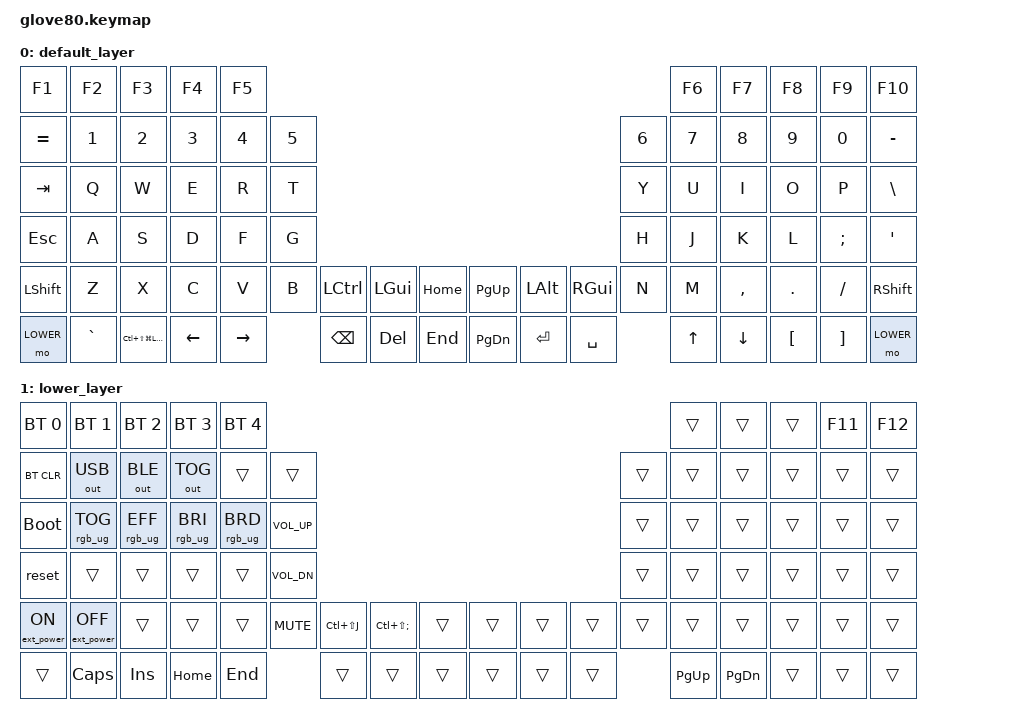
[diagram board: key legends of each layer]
/*
 * Copyright (c) 2020 The ZMK Contributors
 *
 * SPDX-License-Identifier: MIT
 */

#include <behaviors.dtsi>
#include <dt-bindings/zmk/keys.h>
#include <dt-bindings/zmk/bt.h>
#include <dt-bindings/zmk/ext_power.h>
#include <dt-bindings/zmk/outputs.h>
#include <dt-bindings/zmk/rgb.h>

#define HYPER LC(LS(LG(LALT)))
#define LOCK LG(LC(Q))
#define JAPA LC(LS(J))
#define ENGL LC(LS(SEMI))

// layers
#define DEFAULT 0
#define LOWER 1

/ {
    keymap {
      compatible = "zmk,keymap";

      default_layer {
        // ---------------------------------------------------------------------------------------------------------------------------------
        // |  F1   |  F2 |  F3 |  F4  |  F5  |                                                               |  F6   |  F7   |  F8  |   F9  |  F10 |
        // |  =    |  1  |  2  |  3   |  4   |  5   |                                                 |  6   |   7   |   8   |  9   |   0   |   -  |
        // |  TAB  |  Q  |  W  |  E   |  R   |  T   |                                                 |  Y   |   U   |   I   |  O   |   P   |   \  |
        // |  ESC  |  A  |  S  |  D   |  F   |  G   |                                                 |  H   |   J   |   K   |  L   |   ;   |   '  |
        // |   `   |  Z  |  X  |  C   |  V   |  B   | LSHFT | LCTRL | LOWER | | LGUI  | RCTRL | RSHFT |  N   |   M   |   ,   |  .   |   /   | PGUP |
        // | MAGIC | HOME| END | LEFT | RIGHT|      | BSPC  | DEL   | LALT  | | RALT  | RET   | SPACE |      |  UP   | DOWN  |  [   |   ]   | PGDN |


        // MAGIC is currently bound to the same as LAYER - these will be fixed later
        bindings = <
          &kp F1      &kp F2      &kp F3      &kp F4      &kp F5                                                                                          &kp F6  &kp F7      &kp F8      &kp F9      &kp F10
          &kp EQUAL   &kp N1      &kp N2      &kp N3      &kp N4      &kp N5                                                                      &kp N6  &kp N7  &kp N8      &kp N9      &kp N0      &kp MINUS
          &kp TAB     &kp Q       &kp W       &kp E       &kp R       &kp T                                                                       &kp Y   &kp U   &kp I       &kp O       &kp P       &kp BSLH
          &kp ESC     &kp A       &kp S       &kp D       &kp F       &kp G                                                                       &kp H   &kp J   &kp K       &kp L       &kp SEMI    &kp SQT
          &kp LSHFT   &kp Z       &kp X       &kp C       &kp V       &kp B   &kp LCTRL   &kp LGUI    &kp HOME   &kp PG_UP  &kp LALT &kp RGUI     &kp N   &kp M   &kp COMMA   &kp DOT     &kp FSLH    &kp RSHFT
          &mo LOWER   &kp GRAVE   &kp HYPER   &kp LEFT    &kp RIGHT           &kp BSPC    &kp DEL     &kp END    &kp PG_DN  &kp RET  &kp SPACE            &kp UP  &kp DOWN    &kp LBKT    &kp RBKT    &mo LOWER
          >;
      };

      lower_layer {
        bindings = <
          &bt BT_SEL 0      &bt BT_SEL 1        &bt BT_SEL 2    &bt BT_SEL 3    &bt BT_SEL 4                                                                                                         &trans       &trans       &trans       &kp F11      &kp F12
          &bt BT_CLR        &out OUT_USB        &out OUT_BLE    &out OUT_TOG    &trans          &trans                                                                                  &trans       &trans       &trans       &trans       &trans       &trans
          &bootloader       &rgb_ug RGB_TOG     &rgb_ug RGB_EFF &rgb_ug RGB_BRI &rgb_ug RGB_BRD &kp C_VOL_UP                                                                            &trans       &trans       &trans       &trans       &trans       &trans
          &reset            &trans              &trans          &trans          &trans          &kp C_VOL_DN                                                                            &trans       &trans       &trans       &trans       &trans       &trans
          &ext_power EP_ON  &ext_power EP_OFF   &trans          &trans          &trans          &kp C_MUTE      &kp JAPA    &kp ENGL    &trans      &trans      &trans      &trans      &trans       &trans       &trans       &trans       &trans       &trans
          &trans            &kp CAPS            &kp INS         &kp HOME        &kp END                         &trans      &trans      &trans      &trans      &trans      &trans                   &kp PG_UP    &kp PG_DN    &trans       &trans       &trans
          >;
      };
    };
};

